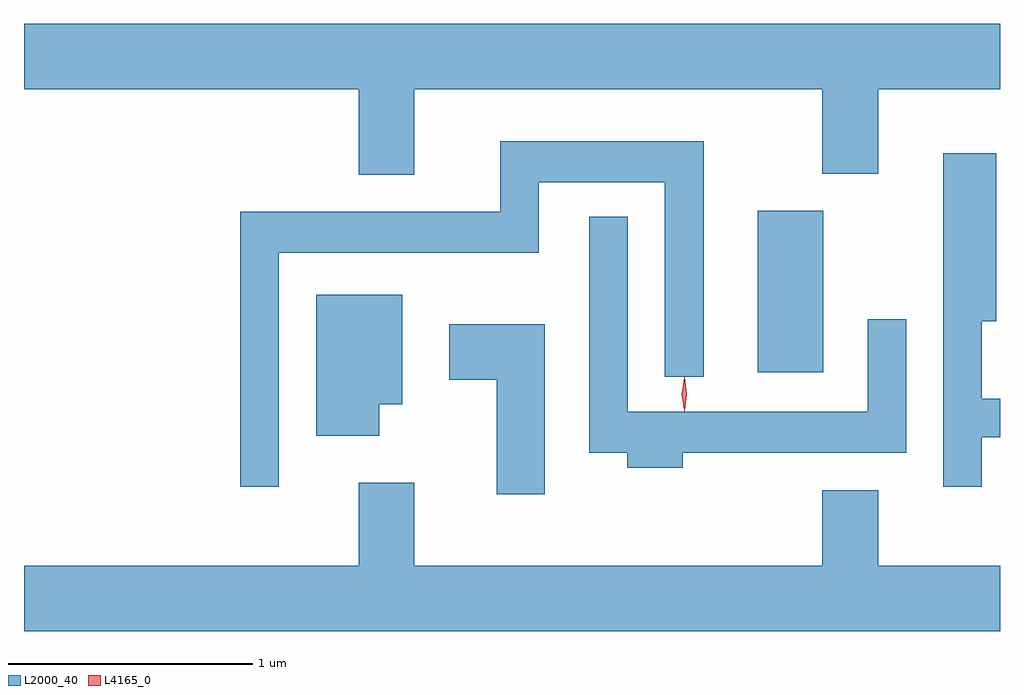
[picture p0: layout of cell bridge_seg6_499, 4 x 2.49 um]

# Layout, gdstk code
import gdstk
lib = gdstk.Library(unit=1e-6, precision=1e-09)
def R(c, l, rs):  # rectangles x0, y0, x1, y1
    for r in rs: c.add(gdstk.rectangle(r[:2], r[2:], *l))
def P(c, l, *ps):  # polygons
    for p in ps: c.add(gdstk.Polygon(p, *l))
L2000_40 = (2000, 40)
L4165_0 = (4165, 0)

bridge_seg6_499 = lib.new_cell('bridge_seg6_499')
R(bridge_seg6_499, L2000_40, [(545.666,1650.996,545.934,1651.659)])
P(bridge_seg6_499, L2000_40, [(544.259,1652.156),(545.931,1652.156),(545.931,1651.811),(546.159,1651.811),(546.159,1652.156),(546.659,1652.156),(546.659,1652.424),(542.659,1652.424),(542.659,1652.156),(544.031,1652.156),(544.031,1651.806),(544.259,1651.806)],
  [(543.704,1651.486),(544.769,1651.486),(544.769,1651.776),(545.286,1651.776),(545.286,1650.978),(545.444,1650.978),(545.444,1651.944),(544.611,1651.944),(544.611,1651.654),(543.546,1651.654),(543.546,1650.528),(543.704,1650.528)],
  [(546.584,1650.731),(546.659,1650.731),(546.659,1650.889),(546.584,1650.889),(546.584,1651.206),(546.644,1651.206),(546.644,1651.894),(546.426,1651.894),(546.426,1650.528),(546.584,1650.528)],
  [(545.359,1650.666),(546.274,1650.666),(546.274,1651.213),(546.116,1651.213),(546.116,1650.834),(545.134,1650.834),(545.134,1651.633),(544.976,1651.633),(544.976,1650.666),(545.131,1650.666),(545.131,1650.606),(545.359,1650.606)],
  [(544.114,1650.866),(544.209,1650.866),(544.209,1651.314),(543.856,1651.314),(543.856,1650.736),(544.114,1650.736)],
  [(544.794,1651.194),(544.401,1651.194),(544.401,1650.966),(544.596,1650.966),(544.596,1650.496),(544.794,1650.496)],
  [(546.659,1650.204),(546.159,1650.204),(546.159,1650.514),(545.931,1650.514),(545.931,1650.204),(544.259,1650.204),(544.259,1650.544),(544.031,1650.544),(544.031,1650.204),(542.659,1650.204),(542.659,1649.936),(546.659,1649.936)])
P(bridge_seg6_499, L4165_0, [(545.365,1650.839),(545.365,1650.84),(545.355,1650.906),(545.365,1650.972),(545.365,1650.973),(545.366,1650.972),(545.375,1650.906),(545.366,1650.84)],
  [(545.365,1650.837),(545.365,1650.838),(545.356,1650.907),(545.365,1650.976),(545.365,1650.976),(545.366,1650.976),(545.375,1650.907),(545.366,1650.838)])

lib.write_gds('bridge_seg6_499.gds')
